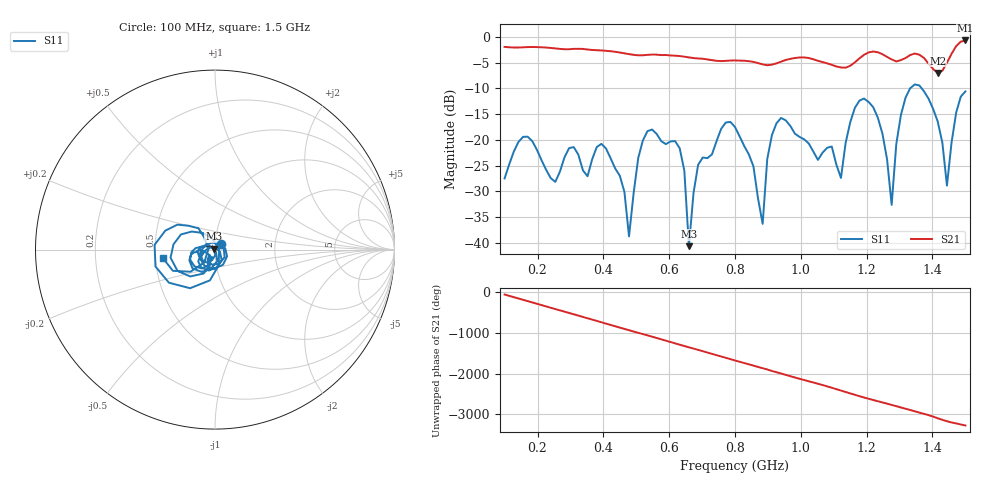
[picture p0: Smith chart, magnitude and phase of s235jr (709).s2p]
! NanoVNA-App
! Date: 2025-09-25 15:09:41
! Start: 100MHz Stop: 1,5GHz Points: 101
! S-Parameter data: F S11 S21 S12 S22
# Hz S RI R 50
!  Frequency  S11_Real  S11_Imag  S21_Real  S21_Imag  S12_Real  S12_Imag  S22_Real  S22_Imag
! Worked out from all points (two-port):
!   101 points, 100 MHz to 1.5 GHz, reference 50 ohm
!   highest |S21| = -0.71 dB at 1.5 GHz (marker M1); lowest = -7.0 dB at 1.416 GHz (marker M2)
!   |S21| within 3 dB of the highest: start of sweep to 627.5 MHz; 1.188 GHz to 1.257 GHz (69.17 MHz wide, 5.66 % of centre)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
!   lowest |S11| = -40.6 dB at 660 MHz (marker M3), VSWR 1.02, Z = 49.3 + j0.555 ohm
!   |S11| at or under -10 dB: start of sweep to 1.332 GHz; 1.367 GHz to end of sweep
!   S12 and S22 are empty: the file has one direction only
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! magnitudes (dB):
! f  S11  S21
! 100 MHz  -27.5  -2.0
! 156 MHz  -19.4  -2.0
! 338 MHz  -25.9  -2.4
! 408 MHz  -21.7  -2.7
! 478 MHz  -38.7  -3.4
! 520 MHz  -20.1  -3.6
! 576 MHz  -20.3  -3.6
! 632 MHz  -21.6  -3.7
! 660 MHz  -40.6  -4.0
! 688 MHz  -24.8  -4.2
! 800 MHz  -17.5  -4.6
! 884 MHz  -36.3  -5.3
! 926 MHz  -16.8  -5.2
! 1.038 GHz  -22.3  -4.4
! 1.122 GHz  -27.4  -6.0
! 1.192 GHz  -12.0  -3.5
! 1.248 GHz  -18.8  -3.4
! 1.276 GHz  -32.6  -4.4
! 1.332 GHz  -10.0  -3.6
! 1.416 GHz  -16.5  -7.0
! 1.444 GHz  -28.9  -5.0
! 1.5 GHz  -10.6  -0.7
